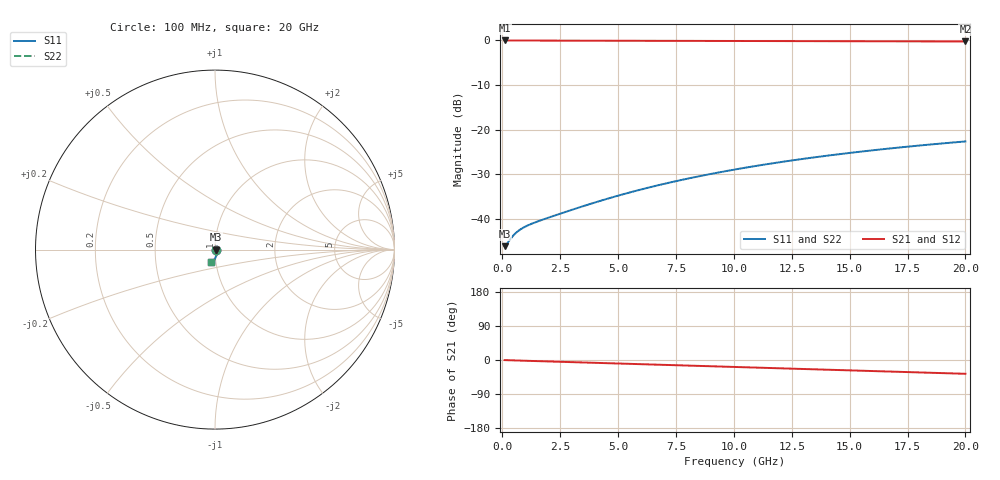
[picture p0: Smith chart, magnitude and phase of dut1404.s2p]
! Touchstone file exported from HFSS 2026.1.0
!  File:  C:/ffzhzh/LocalFiles/Ansys_Project_Files/temp_train_BSMRDL_1404_1783179945_43440.aedt
!  Generated:  11:46:55 PM Jul  4, 2026
!  Design:  BSMRDL
!  Project:  temp_train_BSMRDL_1404_1783179945_43440
! Variables:
!  h_bsmrdl = 2.93um
!  h_ox = 20um
!  h_rdl = 5um
!  h_sub = 80um
!  h_tmrdl = 5um
!  h_tsv = 80um
!  h_via = 3um
!  l_bsmrdl = 645.9um
!  l_sub = 1045.9um
!  l_tmrdl = 200um
!  m_sub = 200um
!  pitch = 18.75um
!  r_tsv = 6um
!  s_tmrdl = 10um
!  w_bsmrdl = 16.47um
!  w_sub = 500um
!  w_tmrdl = 12um
!  x_tsv_center1 = 206um
!  x_tsv_center2 = 868.37um
!  x_tsv_center3 = 1080.37um
!  x_tsv_center4 = 1742.74um
!  x_tsv_center5 = 1954.74um
!  x_tsv_center6 = 2617.11um
# GHz S MA R 50.000000
! Terminal data exported
! Port[1] = BSM_RDL1_1_T1
! Port[2] = BSM_RDL1_1_T2
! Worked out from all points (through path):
!   200 points, 100 MHz to 20 GHz, reference 50 ohm
!   highest |S21| = -0.04 dB at 100 MHz (marker M1); lowest = -0.3 dB at 20 GHz (marker M2)
!   group delay of S21, straight-line fit = 5.03 ps
!   lowest |S11| = -46.1 dB at 100 MHz (marker M3), VSWR 1.01, Z = 50.5 + j0.0411 ohm
!   |S11| at or under -10 dB: start of sweep to end of sweep
!   |S22| runs from -46.1 to -22.7 dB; largest |S21 - S12| = 5.2e-15
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0.1  0.004967 4.7  0.9951 -0.2  0.9951 -0.2  0.004967 4.7
! Gamma 0 0 0 0
! Port Impedance 50 0 50 0
0.2  0.005293 7.9  0.9948 -0.5  0.9948 -0.5  0.005293 7.9
0.4  0.006195 8.5  0.9939 -0.9  0.9939 -0.9  0.006195 8.6
0.5  0.006637 7.0  0.9934 -1.1  0.9934 -1.1  0.006637 7.0
0.6  0.007037 4.8  0.993 -1.3  0.993 -1.3  0.007037 4.8
0.8  0.007706 -0.4  0.9923 -1.6  0.9923 -1.6  0.007706 -0.4
1  0.008245 -5.6  0.9918 -2.0  0.9918 -2.0  0.008244 -5.6
1.3  0.008923 -12.9  0.9912 -2.6  0.9912 -2.6  0.008922 -12.9
1.7  0.009748 -21.3  0.9907 -3.3  0.9907 -3.3  0.009746 -21.3
3.5  0.01394 -46.1  0.9892 -6.6  0.9892 -6.6  0.01393 -46.1
4.3  0.01616 -53.0  0.9885 -8.1  0.9885 -8.1  0.01615 -53.0
5.1  0.01856 -58.5  0.9877 -9.6  0.9877 -9.6  0.01854 -58.6
5.9  0.02109 -63.1  0.9868 -11.0  0.9868 -11.0  0.02107 -63.1
6.8  0.0241 -67.4  0.9858 -12.7  0.9858 -12.7  0.02407 -67.5
8.4  0.02973 -73.8  0.9838 -15.6  0.9838 -15.6  0.02969 -73.9
10.1  0.03602 -79.6  0.9816 -18.7  0.9816 -18.7  0.03596 -79.7
11.7  0.04211 -84.4  0.9795 -21.6  0.9795 -21.6  0.04204 -84.5
13.4  0.04869 -89.1  0.9773 -24.6  0.9773 -24.6  0.0486 -89.3
15  0.05489 -93.3  0.9752 -27.5  0.9752 -27.5  0.05479 -93.5
16.7  0.06144 -97.6  0.9731 -30.5  0.9731 -30.5  0.06132 -97.8
18.3  0.0675 -101.4  0.9711 -33.4  0.9711 -33.4  0.06736 -101.6
20  0.07378 -105.4  0.969 -36.4  0.969 -36.4  0.07363 -105.6
